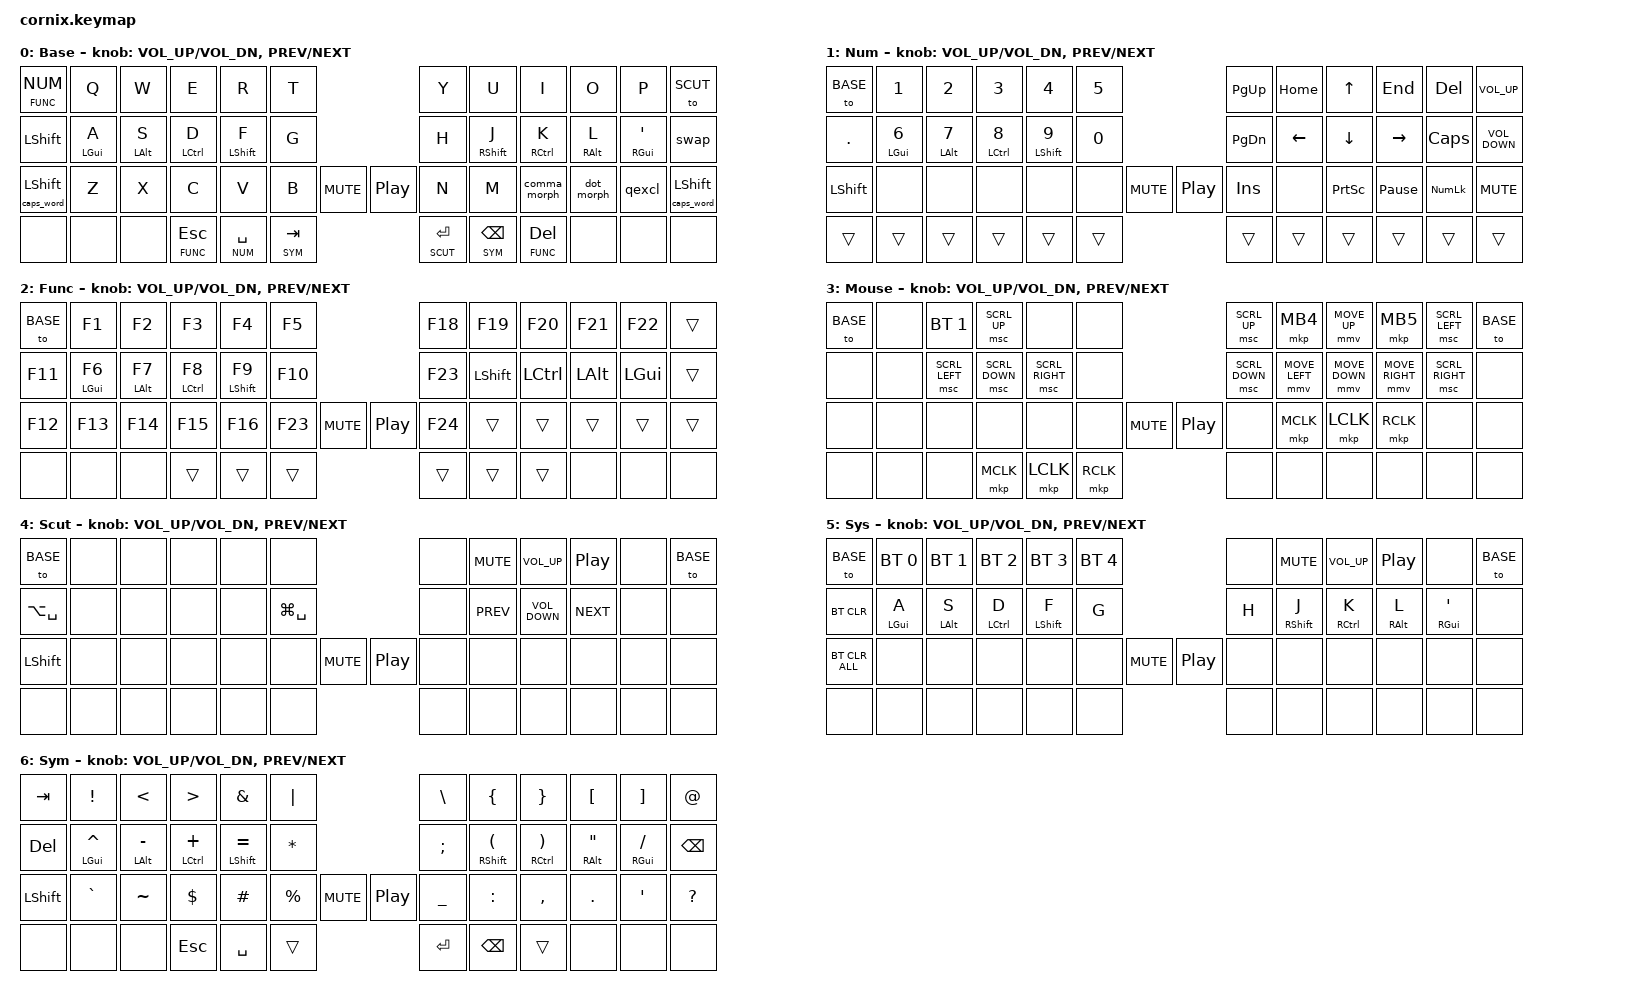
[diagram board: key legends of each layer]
/*
 * Copyright (c) 2020 The ZMK Contributors
 *
 * SPDX-License-Identifier: MIT
 */

#include "zmk-helpers/helper.h"
#include "includes/cornix54.h"
#include <behaviors.dtsi>
#include <dt-bindings/zmk/bt.h>
#include <dt-bindings/zmk/keys.h>
#include <dt-bindings/zmk/ext_power.h>

#define BASE    0
#define NUM     1
#define FUNC    2
#define MOUSE   3
#define SCUT    4
#define SYS     5
#define SYM     6
#define DEBUG   7

#define QUICK_TAP_MS 175
#define TAPPING_TERM_MS 280
#define REQUIRE_PRIOR_IDLE_MS 150

#define COMBO_TERM_FAST 18
#define COMBO_TERM_SLOW 30

#define COMBO_IDLE_FAST 150
#define COMBO_IDLE_SLOW 50

#define ZMK_POINTING_DEFAULT_MOVE_VAL 1500  // default: 600
#define ZMK_POINTING_DEFAULT_SCRL_VAL 20    // default: 10
#include <dt-bindings/zmk/pointing.h>

#define KEYS_L LT0 LT1 LT2 LT3 LT4 LT5 LM0 LM1 LM2 LM3 LM4 LM5 LB0 LB1 LB2 LB3 LB4 LB5
#define KEYS_R RT0 RT1 RT2 RT3 RT4 RT5 RM0 RM1 RM2 RM3 RM4 RM5 RB0 RB1 RB2 RB3 RB4 RB5
#define THUMBS LH2 LH1 LH0 RH0 RH1 RH2




&sk {
  release-after-ms = <900>;
  quick-release;
};

&sl { // Allow sticky mods to chord across sticky layers.
  ignore-modifiers;
};

&lt {
  flavor = "balanced";
  tapping-term-ms = <200>;
  quick-tap-ms = <QUICK_TAP_MS>;
};
/ {
    behaviors {
        hml: homerow_mods_left {
            compatible = "zmk,behavior-hold-tap";
            #binding-cells = <2>;
            bindings = <&kp>, <&kp>;

            flavor = "balanced";
            tapping-term-ms = <TAPPING_TERM_MS>;
            quick-tap-ms = <QUICK_TAP_MS>;                // repeat on tap-into-hold
            require-prior-idle-ms = <REQUIRE_PRIOR_IDLE_MS>;
            hold-trigger-key-positions = <KEYS_R THUMBS>;
            hold-trigger-on-release;
        };

        hmr: homerow_mods_right {
            compatible = "zmk,behavior-hold-tap";
            #binding-cells = <2>;
            bindings = <&kp>, <&kp>;

            flavor = "balanced";
            tapping-term-ms = <TAPPING_TERM_MS>;
            quick-tap-ms = <QUICK_TAP_MS>;
            require-prior-idle-ms = <REQUIRE_PRIOR_IDLE_MS>;
            hold-trigger-key-positions = <KEYS_L THUMBS>;
            hold-trigger-on-release;
        };
        smart_shift: smart_shift {
            compatible = "zmk,behavior-hold-tap";
            #binding-cells = <2>;
            flavor = "tap-preferred";
            tapping-term-ms = <TAPPING_TERM_MS>;
            bindings = <&caps_word>, <&sk>;
            display-name = "Layer-Tap";
        };
        swap: swapper {
            compatible = "zmk,behavior-tri-state";
            label = "SWAPPER";
            #binding-cells = <0>;
            bindings = <&kt LALT>, <&kp TAB>, <&kt LALT>;
            ignored-key-positions = <1>;
        };
        double_layer: double_layer {
            compatible = "zmk,behavior-hold-tap";
            #binding-cells = <2>;
            flavor = "tap-preferred";
            tapping-term-ms = <TAPPING_TERM_MS>;
            bindings = <&to>, <&to>;
            display-name = "Double-Layer";
        };


        comma_morph: comma_morph {
            compatible = "zmk,behavior-mod-morph";
            #binding-cells = <0>;
            bindings = <&kp COMMA>, <&kp SEMICOLON>;
            mods = <(MOD_LSFT|MOD_RSFT)>;
        };
        dot_morph: dot_morph {
            compatible = "zmk,behavior-mod-morph";
            #binding-cells = <0>;
            bindings = <&kp DOT>, <&kp COLON>;
            mods = <(MOD_LSFT|MOD_RSFT)>;
        };
        qexcl: qexcl {
            compatible = "zmk,behavior-mod-morph";
            #binding-cells = <0>;
            bindings = <&kp QMARK>, <&kp EXCL>;
            mods = <(MOD_LSFT|MOD_RSFT)>;
        };
        lpar_lt: lpar_lt {
            compatible = "zmk,behavior-mod-morph";
            #binding-cells = <0>;
            bindings = <&kp LPAR>, <&kp LT>;
            mods = <(MOD_LSFT|MOD_RSFT)>;
        };
        rpar_gt: rpar_gt {
            compatible = "zmk,behavior-mod-morph";
            #binding-cells = <0>;
            bindings = <&kp RPAR>, <&kp GT>;
            mods = <(MOD_LSFT|MOD_RSFT)>;
        };
    };

    combos {
        compatible = "zmk,combos";

        cb_copy {
            bindings = <&kp LC(INS)>;
            key-positions = <LB2 LB3>;
            layers = <BASE NUM>;
            timeout-ms = <COMBO_TERM_FAST>;
            require-prior-idle-ms = <COMBO_IDLE_FAST>;
        };

        cb_paste {
            bindings = <&kp LS(INS)>;
            key-positions = <LB1 LB2>;
            layers = <BASE NUM>;
            timeout-ms = <COMBO_TERM_FAST>;
            require-prior-idle-ms = <COMBO_IDLE_FAST>;
        };

        cb_cut {
            bindings = <&kp LC(X)>;
            key-positions = <LB1 LB3>;
            layers = <BASE NUM>;
            timeout-ms = <COMBO_TERM_FAST>;
            require-prior-idle-ms = <COMBO_IDLE_FAST>;
        };

        cb_language {
            bindings = <&kp LG(SPACE)>;
            key-positions = <LB0 LB1>;
            layers = <BASE NUM>;
            timeout-ms = <COMBO_TERM_FAST>;
            require-prior-idle-ms = <COMBO_IDLE_FAST>;
        };

        cb_pageup {
            bindings = <&kp PG_UP>;
            key-positions = <LT2 LT3>;
            layers = <BASE>;
            timeout-ms = <COMBO_TERM_FAST>;
            require-prior-idle-ms = <COMBO_IDLE_FAST>;
        };

        cb_pgdown {
            bindings = <&kp PG_DN>;
            key-positions = <LT1 LT2>;
            layers = <BASE>;
            timeout-ms = <COMBO_TERM_FAST>;
            require-prior-idle-ms = <COMBO_IDLE_FAST>;
        };

        cb_sys {
            bindings = <&mo SYS>;
            key-positions = <LH1 LH2>;
            layers = <BASE>;
            timeout-ms = <COMBO_TERM_FAST>;
            require-prior-idle-ms = <COMBO_IDLE_FAST>;
        };


    };

    keymap {
        compatible = "zmk,keymap";
        default_layer {
                        display-name = "Base";
                        bindings = <
                           &double_layer FUNC NUM  &kp Q        &kp W        &kp E            &kp R          &kp T                               &kp Y         &kp U              &kp I            &kp O        &kp P          &to SCUT
                           &kp LSHIFT              &hml LGUI A  &hml LALT S  &hml LCTRL D     &hml LSHIFT F  &kp G                               &kp H         &hmr RSHIFT J      &hmr RCTRL K     &hmr RALT L  &hmr RGUI SQT  &swap
                           &smart_shift 0 LSHIFT   &kp Z        &kp X        &kp C            &kp V          &kp B         &kp C_MUTE  &kp C_PP  &kp N         &kp M              &comma_morph     &dot_morph   &qexcl         &smart_shift 0 LSHIFT
                           &none                   &none        &none        &lt FUNC ESCAPE  &lt NUM SPACE  &lt SYM TAB                       &lt SCUT RET  &lt SYM BACKSPACE  &lt FUNC DELETE  &none        &none          &none
                        >;
                        sensor-bindings = <&inc_dec_kp C_VOL_UP C_VOL_DN &inc_dec_kp C_PREV C_NEXT>;
                };

    num_layer {
                        display-name = "Num";
                        bindings = <
                           &to BASE   &kp N1        &kp N2        &kp N3           &kp N4          &kp N5                           &kp PG_UP  &kp HOME   &kp UP     &kp END          &kp DEL     &kp C_VOLUME_UP
                           &kp DOT    &hml LGUI N6  &hml LALT N7  &hml LCTRL N8    &hml LSHIFT N9  &kp N0                           &kp PG_DN  &kp LEFT   &kp DOWN   &kp RIGHT        &kp CAPS    &kp C_VOLUME_DOWN
                           &kp LSHFT  &none         &none         &none            &none           &none      &kp C_MUTE  &kp C_PP  &kp INS    &none      &kp PSCRN  &kp PAUSE_BREAK  &kp KP_NUM  &kp C_MUTE
                           &trans     &trans        &trans        &trans           &trans          &trans                           &trans     &trans     &trans     &trans           &trans      &trans
                        >;
                        sensor-bindings = <&inc_dec_kp C_VOL_UP C_VOL_DN &inc_dec_kp C_PREV C_NEXT>;

                };
        func_layer {
                        display-name = "Func";
                        bindings = <
                           &to BASE  &kp F1        &kp F2        &kp F3         &kp F4          &kp F5                         &kp F18  &kp F19     &kp F20    &kp F21   &kp F22   &trans
                           &kp F11   &hml LGUI F6  &hml LALT F7  &hml LCTRL F8  &hml LSHIFT F9  &kp F10                        &kp F23  &kp LSHIFT  &kp LCTRL  &kp LALT  &kp LGUI  &trans
                           &kp F12   &kp F13       &kp F14       &kp F15        &kp F16         &kp F23  &kp C_MUTE  &kp C_PP  &kp F24  &trans      &trans     &trans    &trans    &trans
                           &none     &none         &none         &trans         &trans          &trans                         &trans   &trans      &trans     &none     &none     &none
                        >;
                        sensor-bindings = <&inc_dec_kp C_VOL_UP C_VOL_DN &inc_dec_kp C_PREV C_NEXT>;
                };


    mouse_layer {
                        display-name = "Mouse";
                        bindings = <
                           &to BASE  &none  &bt BT_SEL 1    &msc SCRL_UP    &none            &none                            &msc SCRL_UP    &mkp MB4        &mmv MOVE_UP    &mkp MB5         &msc SCRL_LEFT   &to BASE
                           &none     &none  &msc SCRL_LEFT  &msc SCRL_DOWN  &msc SCRL_RIGHT  &none                            &msc SCRL_DOWN  &mmv MOVE_LEFT  &mmv MOVE_DOWN  &mmv MOVE_RIGHT  &msc SCRL_RIGHT  &none
                           &none     &none  &none           &none           &none            &none      &kp C_MUTE  &kp C_PP  &none           &mkp MCLK       &mkp LCLK       &mkp RCLK        &none            &none
                           &none     &none  &none           &mkp MCLK       &mkp LCLK        &mkp RCLK                        &none           &none           &none           &none            &none            &none
                        >;
                        sensor-bindings = <&inc_dec_kp C_VOL_UP C_VOL_DN &inc_dec_kp C_PREV C_NEXT>;
        };
    scut_layer {
                        display-name = "Scut";
                        bindings = <
                           &to BASE  &none  &none  &none  &none  &none                                &none  &kp C_MUTE  &kp C_VOLUME_UP    &kp C_PP    &none  &to BASE
                           &kp LA(SPACE) &none  &none  &none  &none  &kp LG(SPACE)                        &none  &kp C_PREV  &kp C_VOLUME_DOWN  &kp C_NEXT  &none  &none
                           &kp LSHIFT &none  &none  &none  &none  &none          &kp C_MUTE  &kp C_PP  &none  &none       &none              &none       &none  &none
                           &none     &none  &none  &none  &none  &none                                &none  &none       &none              &none       &none  &none
                        >;
                        sensor-bindings = <&inc_dec_kp C_VOL_UP C_VOL_DN &inc_dec_kp C_PREV C_NEXT>;

                };
    sys_layer {
                        display-name = "Sys";
                        bindings = <
                           &to BASE        &bt BT_SEL 0  &bt BT_SEL 1  &bt BT_SEL 2  &bt BT_SEL 3  &bt BT_SEL 4                        &none  &kp C_MUTE  &kp C_VOLUME_UP    &kp C_PP    &none  &to BASE
                           &bt BT_CLR      &hml LGUI A   &hml LALT S   &hml LCTRL D  &hml LSHIFT F &kp G                              &kp H   &hmr RSHIFT J &hmr RCTRL K     &hmr RALT L  &hmr RGUI SQT &none
                           &bt BT_CLR_ALL  &none         &none         &none         &none         &none         &kp C_MUTE  &kp C_PP  &none  &none       &none              &none       &none  &none
                           &none           &none         &none         &none         &none         &none                               &none  &none       &none              &none       &none  &none
                        >;
                        sensor-bindings = <&inc_dec_kp C_VOL_UP C_VOL_DN &inc_dec_kp C_PREV C_NEXT>;

                };
    sym_layer {
                        display-name = "Sym";
                        // Direct symbols; paired brackets run left to right: {} [] ().
                        // Home-row holds mirror the modifiers on the base layer.
                        bindings = <
                           &kp TAB    &kp EXCL         &kp LT          &kp GT          &kp AMPS          &kp PIPE                       &kp BSLH   &kp LBRC          &kp RBRC          &kp LBKT       &kp RBKT        &kp AT
                           &kp DEL    &hml LGUI CARET  &hml LALT MINUS &hml LCTRL PLUS &hml LSHIFT EQUAL &kp STAR                       &kp SEMI   &hmr RSHIFT LPAR  &hmr RCTRL RPAR   &hmr RALT DQT  &hmr RGUI FSLH  &kp BACKSPACE
                           &kp LSHFT  &kp GRAVE        &kp TILDE       &kp DLLR        &kp HASH          &kp PRCNT  &kp C_MUTE &kp C_PP &kp UNDER  &kp COLON         &kp COMMA         &kp DOT        &kp SQT         &kp QMARK
                           &none      &none            &none           &kp ESCAPE      &kp SPACE         &trans                         &kp RET    &kp BACKSPACE     &trans            &none          &none           &none
                        >;
                        sensor-bindings = <&inc_dec_kp C_VOL_UP C_VOL_DN &inc_dec_kp C_PREV C_NEXT>;

                };
    };
};
